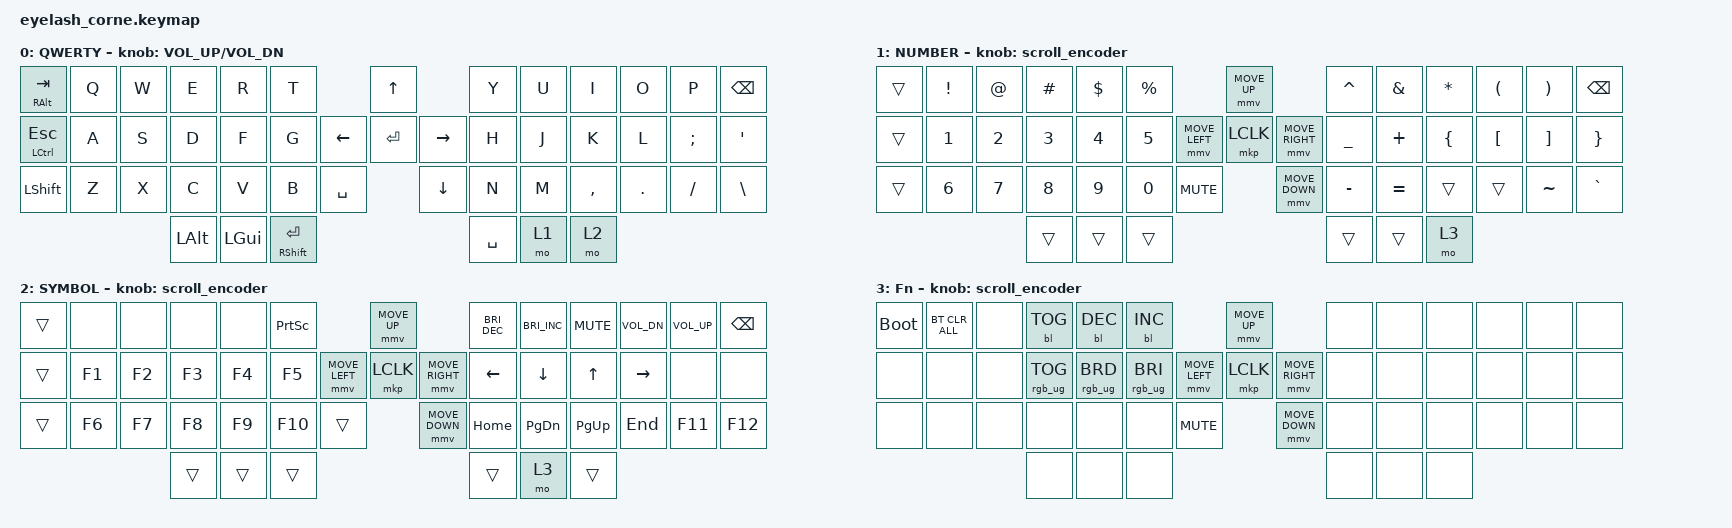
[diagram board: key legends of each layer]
#define ZMK_POINTING_DEFAULT_MOVE_VAL 1200  // 600
#define ZMK_POINTING_DEFAULT_SCRL_VAL 25   // 10

#include <input/processors.dtsi>
#include <zephyr/dt-bindings/input/input-event-codes.h>
#include <behaviors.dtsi>
#include <dt-bindings/zmk/backlight.h>
#include <dt-bindings/zmk/bt.h>
#include <dt-bindings/zmk/keys.h>
#include <dt-bindings/zmk/pointing.h>
#include <dt-bindings/zmk/rgb.h>

&mmv_input_listener { input-processors = <&zip_xy_scaler 2 1>; };

&msc_input_listener { input-processors = <&zip_scroll_scaler 2 1>; };

&msc {
    acceleration-exponent = <1>;      // 0
    time-to-max-speed-ms = <100>;       // 300
    delay-ms = <0>;                   // 0
};

&mmv {
    time-to-max-speed-ms = <500>;
    acceleration-exponent = <1>;
    trigger-period-ms = <16>;
};

&soft_off { hold-time-ms = <2000>; };

/ {
    behaviors {
        td0: td0 {
            compatible = "zmk,behavior-tap-dance";
            display-name = "Shift/Caps Lock Tap Dance";
            #binding-cells = <0>;
            bindings = <&kp LEFT_SHIFT>, <&kp CAPS>;
        };
    };

    rgb_encoder: rgb_encoder {
        compatible = "zmk,behavior-sensor-rotate";
        #sensor-binding-cells = <0>;
        bindings = <&rgb_ug RGB_BRI>, <&rgb_ug RGB_BRD>;
    };

    scroll_encoder: scroll_encoder {
        compatible = "zmk,behavior-sensor-rotate";
        #sensor-binding-cells = <0>;
        bindings = <&msc SCRL_DOWN>, <&msc SCRL_UP>;

        tap-ms = <100>;
    };

    combos {
        compatible = "zmk,combos";

        softoff {
            bindings = <&soft_off>;
            key-positions = <1 15 29>;
        };
    };

    keymap {
        compatible = "zmk,keymap";

        default_layer {
            display-name = "QWERTY";
            bindings = <
&mt RALT TAB    &kp Q  &kp W  &kp E     &kp R         &kp T                                    &kp UP                &kp Y      &kp U  &kp I      &kp O    &kp P     &kp BSPC
&mt LCTRL ESC   &kp A  &kp S  &kp D     &kp F         &kp G                          &kp LEFT  &kp ENTER  &kp RIGHT  &kp H      &kp J  &kp K      &kp L    &kp SEMI  &kp SQT
&kp LEFT_SHIFT  &kp Z  &kp X  &kp C     &kp V         &kp B             &kp SPACE              &kp DOWN              &kp N      &kp M  &kp COMMA  &kp DOT  &kp FSLH  &kp BACKSLASH
                              &kp LALT  &kp LEFT_GUI  &mt RSHIFT ENTER                                               &kp SPACE  &mo 1  &mo 2
            >;

            sensor-bindings = <&inc_dec_kp C_VOLUME_UP C_VOL_DN>;
        };

        lower_layer {
            display-name = "NUMBER";
            bindings = <
&trans  &kp EXCL  &kp AT  &kp HASH  &kp DLLR  &kp PERCENT                                &mmv MOVE_UP                     &kp CARET  &kp AMPS   &kp ASTRK  &kp LPAR          &kp RPAR           &kp BSPC
&trans  &kp N1    &kp N2  &kp N3    &kp N4    &kp N5                     &mmv MOVE_LEFT  &mkp LCLK       &mmv MOVE_RIGHT  &kp UNDER  &kp PLUS   &kp LBRC   &kp LEFT_BRACKET  &kp RIGHT_BRACKET  &kp RBRC
&trans  &kp N6    &kp N7  &kp N8    &kp N9    &kp N0       &kp C_MUTE                    &mmv MOVE_DOWN                   &kp MINUS  &kp EQUAL  &trans     &trans            &kp TILDE          &kp GRAVE
                          &trans    &trans    &trans                                                                      &trans     &trans     &mo 3
            >;

            sensor-bindings = <&scroll_encoder>;
        };

        raise_layer {
            display-name = "SYMBOL";
            bindings = <
&trans  &none   &none   &none   &none   &kp PRINTSCREEN                            &mmv MOVE_UP                     &kp C_BRI_DEC  &kp C_BRI_INC  &kp C_MUTE  &kp C_VOL_DN  &kp C_VOL_UP  &kp BSPC
&trans  &kp F1  &kp F2  &kp F3  &kp F4  &kp F5                     &mmv MOVE_LEFT  &mkp LCLK       &mmv MOVE_RIGHT  &kp LEFT       &kp DOWN       &kp UP      &kp RIGHT     &none         &none
&trans  &kp F6  &kp F7  &kp F8  &kp F9  &kp F10          &trans                    &mmv MOVE_DOWN                   &kp HOME       &kp PAGE_DOWN  &kp PG_UP   &kp END       &kp F11       &kp F12
                        &trans  &trans  &trans                                                                      &trans         &mo 3          &trans
            >;

            sensor-bindings = <&scroll_encoder>;
        };

        layer_3 {
            display-name = "Fn";
            bindings = <
&bootloader  &bt BT_CLR_ALL  &none  &bl BL_TOG       &bl BL_DEC       &bl BL_INC                                     &mmv MOVE_UP                     &none  &none  &none  &none  &none  &none
&none        &none           &none  &rgb_ug RGB_TOG  &rgb_ug RGB_BRD  &rgb_ug RGB_BRI                &mmv MOVE_LEFT  &mkp LCLK       &mmv MOVE_RIGHT  &none  &none  &none  &none  &none  &none
&none        &none           &none  &none            &none            &none            &kp C_MUTE                    &mmv MOVE_DOWN                   &none  &none  &none  &none  &none  &none
                                    &none            &none            &none                                                                           &none  &none  &none
            >;

            sensor-bindings = <&scroll_encoder>;
        };
    };
};
